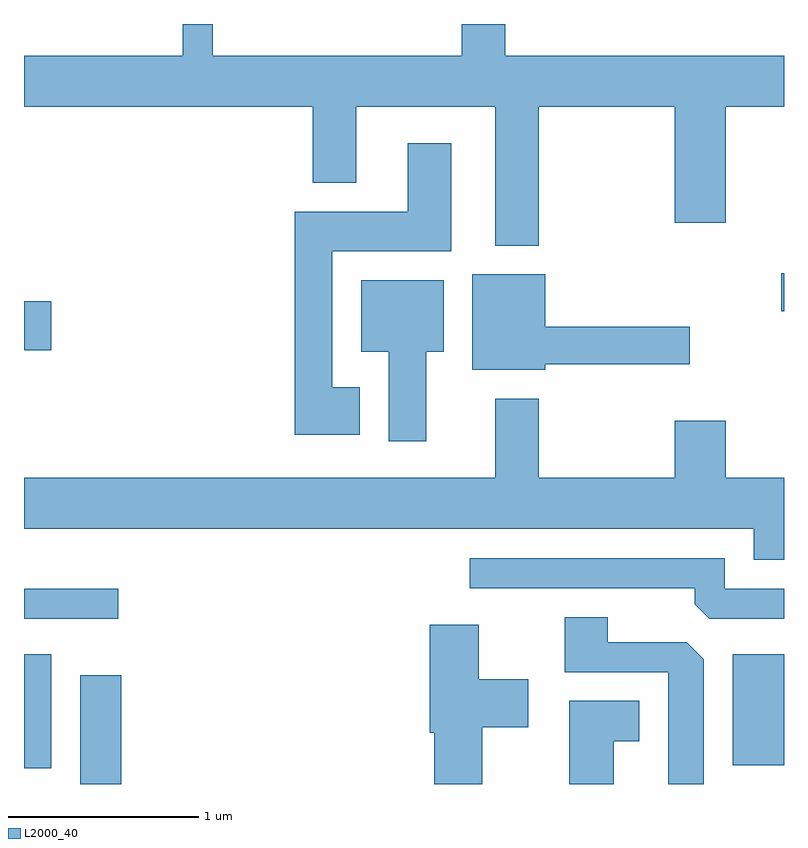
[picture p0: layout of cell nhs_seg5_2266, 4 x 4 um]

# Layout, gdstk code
import gdstk
lib = gdstk.Library(unit=1e-6, precision=1e-09)
def R(c, l, rs):  # rectangles x0, y0, x1, y1
    for r in rs: c.add(gdstk.rectangle(r[:2], r[2:], *l))
def P(c, l, *ps):  # polygons
    for p in ps: c.add(gdstk.Polygon(p, *l))
L2000_40 = (2000, 40)

nhs_seg5_2266 = lib.new_cell('nhs_seg5_2266')
R(nhs_seg5_2266, L2000_40, [(251.906,1502.072,252.124,1502.644), (251.611,1502.156,251.754,1502.754), (255.341,1502.171,255.611,1502.754), (251.611,1502.941,252.108,1503.099), (251.611,1504.356,251.754,1504.614), (255.596,1504.561,255.611,1504.759)])
P(nhs_seg5_2266, L2000_40, [(252.604,1506.072),(252.446,1506.072),(252.446,1505.904),(251.611,1505.904),(251.611,1505.636),(253.131,1505.636),(253.131,1505.236),(253.359,1505.236),(253.359,1505.636),(254.091,1505.636),(254.091,1504.906),(254.319,1504.906),(254.319,1505.636),(255.036,1505.636),(255.036,1505.026),(255.304,1505.026),(255.304,1505.636),(255.611,1505.636),(255.611,1505.904),(254.144,1505.904),(254.144,1506.072),(253.916,1506.072),(253.916,1505.904),(252.604,1505.904)],
  [(253.379,1504.159),(253.234,1504.159),(253.234,1504.876),(253.859,1504.876),(253.859,1505.444),(253.631,1505.444),(253.631,1505.084),(253.036,1505.084),(253.036,1503.911),(253.379,1503.911)],
  [(254.354,1504.281),(255.114,1504.281),(255.114,1504.479),(254.354,1504.479),(254.354,1504.754),(253.971,1504.754),(253.971,1504.251),(254.354,1504.251)],
  [(253.729,1504.346),(253.819,1504.346),(253.819,1504.724),(253.386,1504.724),(253.386,1504.346),(253.531,1504.346),(253.531,1503.876),(253.729,1503.876)],
  [(255.611,1503.684),(255.304,1503.684),(255.304,1503.984),(255.036,1503.984),(255.036,1503.684),(254.319,1503.684),(254.319,1504.099),(254.091,1504.099),(254.091,1503.684),(251.611,1503.684),(251.611,1503.416),(255.451,1503.416),(255.451,1503.251),(255.611,1503.251)],
  [(255.611,1503.099),(255.299,1503.099),(255.299,1503.259),(253.958,1503.259),(253.958,1503.101),(255.141,1503.101),(255.141,1503.017),(255.217,1502.941),(255.611,1502.941)],
  [(255.189,1502.729),(255.099,1502.819),(254.684,1502.819),(254.684,1502.949),(254.456,1502.949),(254.456,1502.661),(255.001,1502.661),(255.001,1502.072),(255.189,1502.072)],
  [(254.024,1502.371),(254.264,1502.371),(254.264,1502.624),(254.004,1502.624),(254.004,1502.909),(253.746,1502.909),(253.746,1502.341),(253.771,1502.341),(253.771,1502.072),(254.024,1502.072)],
  [(254.714,1502.296),(254.849,1502.296),(254.849,1502.509),(254.481,1502.509),(254.481,1502.072),(254.714,1502.072)])

lib.write_gds('nhs_seg5_2266.gds')
